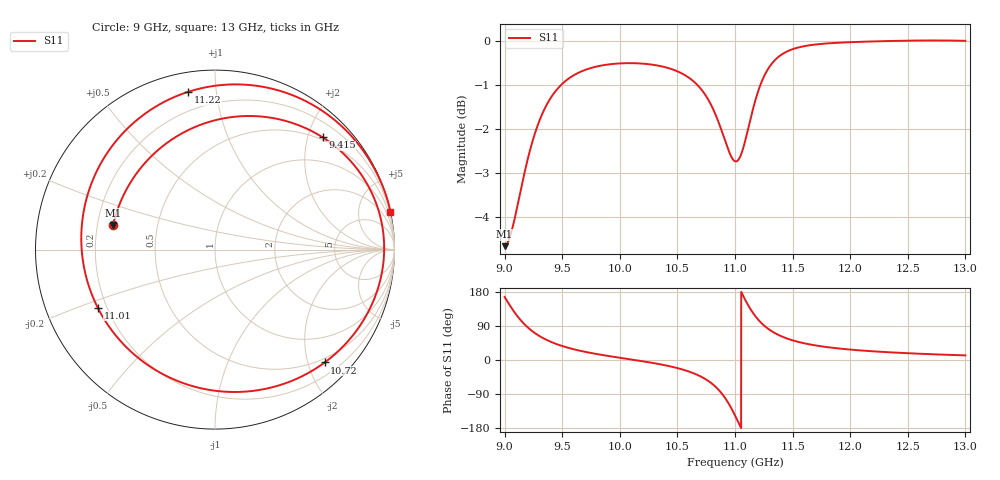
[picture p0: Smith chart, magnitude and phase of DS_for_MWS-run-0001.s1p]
! TOUCHSTONE file generated by CST DESIGN STUDIO
! Date and time: Tue Feb  4 18:21:04 2025
! Project name: C:\Work\MatlabApps\UnitCellOptimizationMatlab\CST\unitcell.cst
! Tree item: Tasks\Sweep1\SPara1\S-Parameters
! Header version: 2024
! Port assignment regex: !\s*Touchstone port\s*([0-9]+)\s*=\s*(CST MWS port|CST DES external port|CST DES block port)\s*(.+)\s* \(\"(.*)\"\)(\s*mode\s*([0-9]+))?.*
! Touchstone port assignment:
! Touchstone port 1 = CST DES external port 1 ("")
# GHz S MA R 50
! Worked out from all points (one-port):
!   4001 points, 9 GHz to 13 GHz, reference 50 ohm
!   lowest |S11| = -4.7 dB at 9 GHz (marker M1), VSWR 3.81, Z = 13.3 + j5.54 ohm
!   |S11| at or under -10 dB: nowhere
!   S11 on the Smith chart (normalised r, x): 9 GHz: 0.27, +0.11; 9.415 GHz: 0.45, +2.27; 10.72 GHz: 0.42, -2.30; 11.01 GHz: 0.17, -0.23; 11.22 GHz: 0.10, +0.84; 13 GHz: 0.03, +9.38
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9  0.584 166.4
9.098  0.6369 120.8
9.178  0.7125 92.6
9.296  0.807 64.4
9.415  0.8665 46.2
9.5  0.8929 36.9
9.709  0.9271 20.9
10  0.942 5.9
10.284  0.9389 -7.7
10.5  0.9227 -21.3
10.621  0.9031 -32.7
10.717  0.8768 -45.8
10.808  0.8371 -64.4
10.892  0.7845 -91.1
10.948  0.7479 -116.5
11  0.7293 -146.2
11.012  0.7291 -153.6
11.054  0.743 179.8
11.095  0.7754 155.1
11.157  0.837 123.8
11.222  0.8916 99.7
11.277  0.9239 84.8
11.348  0.9507 70.7
11.5  0.9777 51.9
11.702  0.9899 38.3
12  0.9958 27.5
12.5  0.9998 17.9
13  0.9994 12.2
